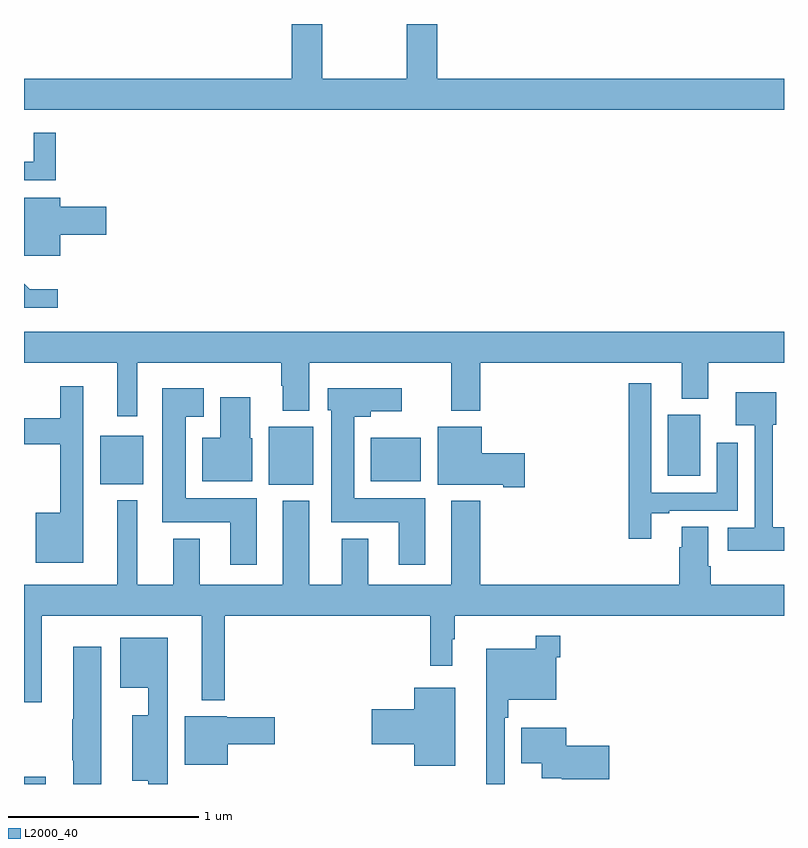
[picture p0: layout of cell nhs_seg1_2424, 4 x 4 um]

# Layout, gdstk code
import gdstk
lib = gdstk.Library(unit=1e-6, precision=1e-09)
def R(c, l, rs):  # rectangles x0, y0, x1, y1
    for r in rs: c.add(gdstk.rectangle(r[:2], r[2:], *l))
def P(c, l, *ps):  # polygons
    for p in ps: c.add(gdstk.Polygon(p, *l))
L2000_40 = (2000, 40)

nhs_seg1_2424 = lib.new_cell('nhs_seg1_2424')
R(nhs_seg1_2424, L2000_40, [(243,532.199,243.115,532.237), (244.289,533.774,244.522,534.079), (243.401,533.777,243.628,534.031), (244.826,533.792,245.089,534.022), (246.389,533.822,246.559,534.142)])
P(nhs_seg1_2424, L2000_40, [(247,535.912),(245.174,535.912),(245.174,536.199),(245.014,536.199),(245.014,535.912),(244.569,535.912),(244.569,536.199),(244.409,536.199),(244.409,535.912),(243,535.912),(243,535.748),(247,535.748)],
  [(243.167,535.627),(243.05,535.627),(243.05,535.473),(243,535.473),(243,535.377),(243.167,535.377)],
  [(243.19,535.091),(243.433,535.091),(243.433,535.238),(243.19,535.238),(243.19,535.285),(243,535.285),(243,534.98),(243.19,534.98)],
  [(243.178,534.802),(243.029,534.802),(243,534.831),(243,534.705),(243.178,534.705)],
  [(243.595,534.416),(244.354,534.416),(244.354,534.296),(244.361,534.296),(244.361,534.164),(244.501,534.164),(244.501,534.416),(245.249,534.416),(245.249,534.164),(245.402,534.164),(245.402,534.416),(246.461,534.416),(246.461,534.227),(246.601,534.227),(246.601,534.416),(247,534.416),(247,534.58),(243,534.58),(243,534.416),(243.491,534.416),(243.491,534.135),(243.595,534.135)],
  [(246.301,533.625),(246.397,533.625),(246.397,533.637),(246.757,533.637),(246.757,533.995),(246.647,533.995),(246.647,533.733),(246.3,533.733),(246.3,534.307),(246.184,534.307),(246.184,533.49),(246.301,533.49)],
  [(243.313,534.292),(243.192,534.292),(243.192,534.123),(243,534.123),(243,533.986),(243.192,533.986),(243.192,533.626),(243.062,533.626),(243.062,533.363),(243.313,533.363)],
  [(245.113,533.704),(244.738,533.704),(244.738,534.131),(244.825,534.131),(244.825,534.161),(244.987,534.161),(244.987,534.283),(244.598,534.283),(244.598,534.165),(244.616,534.165),(244.616,533.576),(244.973,533.576),(244.973,533.352),(245.113,533.352)],
  [(244.225,533.704),(243.85,533.704),(243.85,534.131),(243.946,534.131),(243.946,534.283),(243.728,534.283),(243.728,533.576),(244.085,533.576),(244.085,533.352),(244.225,533.352)],
  [(247,533.55),(246.942,533.55),(246.942,534.09),(246.958,534.09),(246.958,534.262),(246.746,534.262),(246.746,534.086),(246.846,534.086),(246.846,533.548),(246.705,533.548),(246.705,533.426),(247,533.426)],
  [(244.201,534.018),(244.192,534.018),(244.192,534.235),(244.034,534.235),(244.034,534.022),(243.938,534.022),(243.938,533.792),(244.201,533.792)],
  [(245.635,533.94),(245.41,533.94),(245.41,534.079),(245.177,534.079),(245.177,533.774),(245.522,533.774),(245.522,533.762),(245.635,533.762)],
  [(243.094,533.084),(243.935,533.084),(243.935,532.64),(244.057,532.64),(244.057,533.084),(245.137,533.084),(245.137,532.821),(245.254,532.821),(245.254,532.961),(245.266,532.961),(245.266,533.084),(247,533.084),(247,533.248),(246.614,533.248),(246.614,533.344),(246.601,533.344),(246.601,533.552),(246.461,533.552),(246.461,533.444),(246.449,533.444),(246.449,533.248),(245.402,533.248),(245.402,533.689),(245.249,533.689),(245.249,533.248),(244.813,533.248),(244.813,533.491),(244.673,533.491),(244.673,533.248),(244.501,533.248),(244.501,533.689),(244.361,533.689),(244.361,533.248),(243.925,533.248),(243.925,533.491),(243.785,533.491),(243.785,533.248),(243.595,533.248),(243.595,533.692),(243.491,533.692),(243.491,533.248),(243,533.248),(243,532.629),(243.094,532.629)],
  [(245.529,532.547),(245.549,532.547),(245.549,532.643),(245.802,532.643),(245.802,532.865),(245.822,532.865),(245.822,532.978),(245.694,532.978),(245.694,532.912),(245.432,532.912),(245.432,532.199),(245.529,532.199)],
  [(243.757,532.969),(243.506,532.969),(243.506,532.706),(243.653,532.706),(243.653,532.561),(243.569,532.561),(243.569,532.217),(243.653,532.217),(243.653,532.199),(243.757,532.199)],
  [(243.406,532.921),(243.26,532.921),(243.26,532.541),(243.253,532.541),(243.253,532.324),(243.26,532.324),(243.26,532.199),(243.406,532.199)],
  [(245.269,532.705),(245.054,532.705),(245.054,532.592),(244.83,532.592),(244.83,532.409),(245.054,532.409),(245.054,532.295),(245.269,532.295)],
  [(244.072,532.408),(244.321,532.408),(244.321,532.55),(244.068,532.55),(244.068,532.555),(243.845,532.555),(243.845,532.301),(244.072,532.301)],
  [(246.079,532.4),(245.854,532.4),(245.854,532.495),(245.618,532.495),(245.618,532.307),(245.726,532.307),(245.726,532.229),(245.83,532.229),(245.83,532.224),(246.079,532.224)])

lib.write_gds('nhs_seg1_2424.gds')
